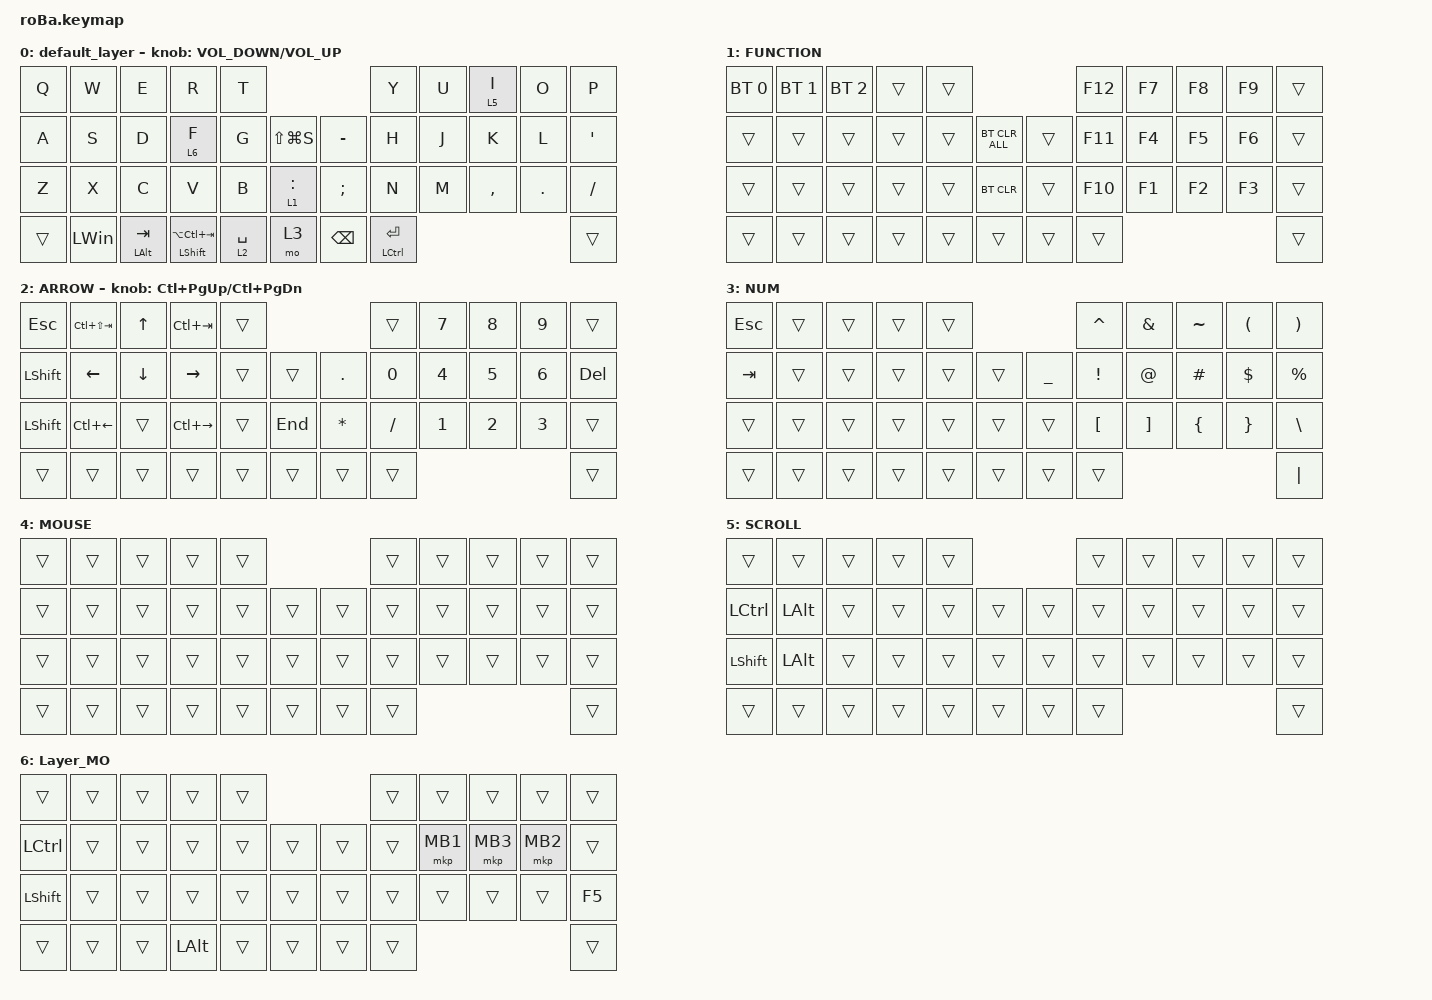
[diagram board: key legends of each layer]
#include <behaviors.dtsi>
#include <dt-bindings/zmk/bt.h>
#include <dt-bindings/zmk/keys.h>
#include <dt-bindings/zmk/pointing.h>

&mt {
    flavor = "balanced";
    quick-tap-ms = <0>;
};

&trackball {
    automouse-layer = <4>;
    scroll-layers = <5>;

    // arrows {
    //     layers = <3>;
    //     bindings =
    //         <&kp RIGHT_ARROW>,
    //         <&kp LEFT_ARROW>,
    //         <&kp UP_ARROW>,
    //         <&kp DOWN_ARROW>;
    //     tick = <10>;
    //     wait-ms = <5>;
    //     tap-ms = <5>;
    // };
};

/ {
    combos {
        compatible = "zmk,combos";

        L_CLICK {
            bindings = <&mkp MB1>;
            key-positions = <19 18>;
        };

        R_CLICK {
            bindings = <&mkp MB2>;
            key-positions = <19 20>;
        };
    };

    macros {
        to_layer_0: to_layer_0 {
            compatible = "zmk,behavior-macro-one-param";
            #binding-cells = <1>;
            bindings = <&to 0 &macro_param_1to1 &kp MACRO_PLACEHOLDER>;
            label = "TO_LAYER_0";
        };
    };

    behaviors {
        lt_to_layer_0: lt_to_layer_0 {
            compatible = "zmk,behavior-hold-tap";
            label = "LAYER_TAP_TO_0";
            bindings = <&mo>, <&to_layer_0>;

            #binding-cells = <2>;
            tapping-term-ms = <200>;
        };

        lt_mkp_mb3: lt_mkp_mb3 {
            compatible = "zmk,behavior-hold-tap";
            label = "LT_MKP_MB3";
            bindings = <&mo>, <&mkp>;

            #binding-cells = <2>;
            tapping-term-ms = <200>;
            flavor = "balanced";
        };
    };

    keymap {
        compatible = "zmk,keymap";

        default_layer {
            bindings = <
&kp Q   &kp W         &kp E             &kp R                   &kp T                                          &kp Y                   &kp U  &lt 5 I    &kp O    &kp P
&kp A   &kp S         &kp D             &lt 6 F                 &kp G        &kp LS(LG(S))      &kp MINUS      &kp H                   &kp J  &kp K      &kp L    &kp APOS
&kp Z   &kp X         &kp C             &kp V                   &kp B        &lt 1 COLON        &kp SEMICOLON  &kp N                   &kp M  &kp COMMA  &kp DOT  &kp FSLH
&trans  &kp LEFT_WIN  &mt LEFT_ALT TAB  &mt LSHIFT LA(LC(TAB))  &lt 2 SPACE  &mo 3              &kp BACKSPACE  &mt LEFT_CONTROL ENTER                             &trans
            >;

            sensor-bindings = <&inc_dec_kp C_VOLUME_DOWN C_VOLUME_UP>;
        };

        FUNCTION {
            bindings = <
&bt BT_SEL 0  &bt BT_SEL 1  &bt BT_SEL 2  &trans  &trans                              &kp F12  &kp F7  &kp F8  &kp F9  &trans
&trans        &trans        &trans        &trans  &trans  &bt BT_CLR_ALL      &trans  &kp F11  &kp F4  &kp F5  &kp F6  &trans
&trans        &trans        &trans        &trans  &trans  &bt BT_CLR          &trans  &kp F10  &kp F1  &kp F2  &kp F3  &trans
&trans        &trans        &trans        &trans  &trans  &trans              &trans  &trans                           &trans
            >;
        };

        ARROW {
            bindings = <
&kp ESCAPE      &kp LC(LS(TAB))  &kp UP_ARROW    &kp LC(TAB)          &trans                          &trans     &kp N7  &kp N8  &kp N9  &trans
&kp LEFT_SHIFT  &kp LEFT_ARROW   &kp DOWN_ARROW  &kp RIGHT_ARROW      &trans  &trans       &kp DOT    &kp N0     &kp N4  &kp N5  &kp N6  &kp DELETE
&kp LEFT_SHIFT  &kp LC(LEFT)     &trans          &kp LC(RIGHT_ARROW)  &trans  &kp END      &kp ASTRK  &kp SLASH  &kp N1  &kp N2  &kp N3  &trans
&trans          &trans           &trans          &trans               &trans  &trans       &trans     &trans                             &trans
            >;

            sensor-bindings = <&inc_dec_kp LC(PAGE_UP) LC(PAGE_DOWN)>;
        };

        NUM {
            bindings = <
&kp ESCAPE  &trans  &trans  &trans  &trans                              &kp CARET         &kp AMPERSAND      &kp TILDE       &kp LEFT_PARENTHESIS  &kp RIGHT_PARENTHESIS
&kp TAB     &trans  &trans  &trans  &trans  &trans      &kp UNDERSCORE  &kp EXCLAMATION   &kp AT_SIGN        &kp HASH        &kp DOLLAR            &kp PERCENT
&trans      &trans  &trans  &trans  &trans  &trans      &trans          &kp LEFT_BRACKET  &kp RIGHT_BRACKET  &kp LEFT_BRACE  &kp RIGHT_BRACE       &kp BACKSLASH
&trans      &trans  &trans  &trans  &trans  &trans      &trans          &trans                                                                     &kp PIPE
            >;
        };

        MOUSE {
            bindings = <
&trans  &trans  &trans  &trans  &trans                      &trans  &trans  &trans  &trans  &trans
&trans  &trans  &trans  &trans  &trans  &trans      &trans  &trans  &trans  &trans  &trans  &trans
&trans  &trans  &trans  &trans  &trans  &trans      &trans  &trans  &trans  &trans  &trans  &trans
&trans  &trans  &trans  &trans  &trans  &trans      &trans  &trans                          &trans
            >;
        };

        SCROLL {
            bindings = <
&trans            &trans    &trans  &trans  &trans                      &trans  &trans  &trans  &trans  &trans
&kp LEFT_CONTROL  &kp LALT  &trans  &trans  &trans  &trans      &trans  &trans  &trans  &trans  &trans  &trans
&kp LSHFT         &kp LALT  &trans  &trans  &trans  &trans      &trans  &trans  &trans  &trans  &trans  &trans
&trans            &trans    &trans  &trans  &trans  &trans      &trans  &trans                          &trans
            >;
        };

        Layer_MO {
            bindings = <
&trans            &trans  &trans  &trans        &trans                      &trans  &trans    &trans    &trans    &trans
&kp LEFT_CONTROL  &trans  &trans  &trans        &trans  &trans      &trans  &trans  &mkp MB1  &mkp MB3  &mkp MB2  &trans
&kp LEFT_SHIFT    &trans  &trans  &trans        &trans  &trans      &trans  &trans  &trans    &trans    &trans    &kp F5
&trans            &trans  &trans  &kp LEFT_ALT  &trans  &trans      &trans  &trans                                &trans
            >;
        };
    };
};
